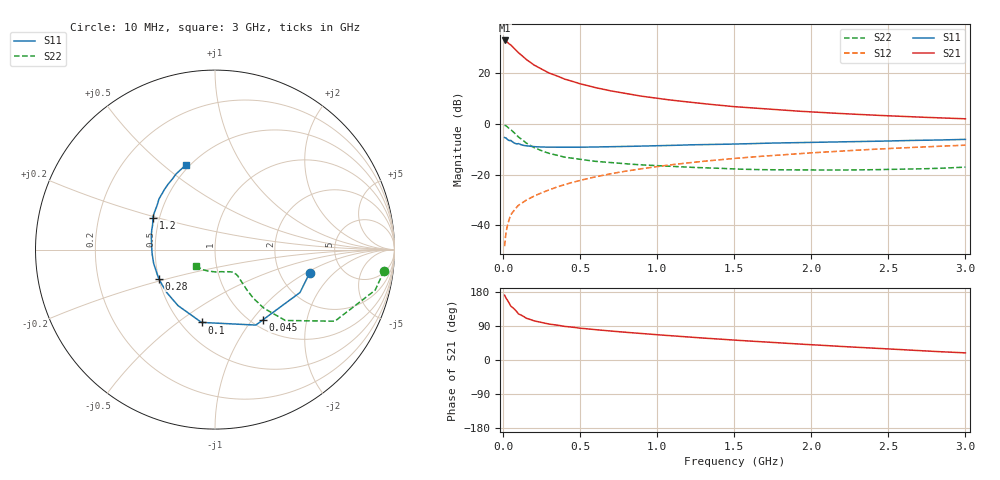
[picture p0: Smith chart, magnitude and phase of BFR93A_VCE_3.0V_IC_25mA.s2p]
! Infineon Technologies  Discrete & RF Semiconductors
! BFR93A
! VCE =  3.0 V,  IC =  25 mA
! Common Emitter S-Parameters:  Nov 2015
# GHz  S  MA  R  50
!  f  S11  S21  S12  S22
! GHz  MAG  ANG  MAG  ANG  MAG  ANG  MAG  ANG
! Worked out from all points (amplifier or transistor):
!   180 points, 10 MHz to 3 GHz, reference 50 ohm
!   highest |S21| = 33.0 dB at 10 MHz (marker M1)
!   |S21| within 3 dB of that: start of sweep to 70.1 MHz
!   unconditionally stable (mu >= 1): 380.1 MHz to 2.959 GHz
!   at 160 MHz: K = 0.76, MSG = 27.4 dB, |S12| = -29.7 dB
!   at 1.22 GHz: K = 1.07, MAG = 10.2 dB, |S12| = -15.2 dB
!   at 3 GHz: K = 1.00, MSG = 5.2 dB, |S12| = -8.3 dB
!   S11 on the Smith chart (normalised r, x): 10 MHz: 2.95, -1.07; 45 MHz: 1.13, -1.13; 100 MHz: 0.63, -0.61; 280 MHz: 0.50, -0.19; 1.2 GHz: 0.46, +0.19; 3 GHz: 0.48, +0.60
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0.01  0.544 -13.6  44.75 171.0  0.0039 83.9  0.9489 -7.2
0.02  0.5305 -26.8  43.35 162.8  0.0076 78.3  0.9206 -14.2
0.045  0.4736 -55.5  37.28 146.1  0.0147 69.8  0.7969 -27.6
0.05  0.478 -61.6  36.52 142.2  0.0161 69.0  0.7784 -30.8
0.1  0.4126 -100.5  25.61 121.6  0.025 62.5  0.5566 -45.2
0.15  0.3741 -123.3  18.83 110.3  0.0315 62.2  0.4238 -50.2
0.2  0.36 -138.3  14.72 103.4  0.0377 63.7  0.3457 -51.7
0.24  0.3539 -146.6  12.56 99.6  0.0427 65.2  0.3063 -51.8
0.28  0.3515 -152.6  10.9 96.3  0.0479 66.3  0.2769 -51.5
0.3  0.3511 -155.3  10.15 94.7  0.0505 66.7  0.2639 -51.2
0.4  0.3503 -167.3  7.723 88.7  0.064 68.5  0.2227 -50.1
0.5  0.3509 -175.9  6.243 83.9  0.0775 69.0  0.2006 -49.2
0.52  0.3511 -177.2  6.041 83.2  0.0802 69.0  0.1973 -49.2
0.6  0.3534 177.8  5.245 80.0  0.091 68.9  0.1842 -49.2
0.7  0.3566 172.7  4.518 76.3  0.1049 68.7  0.1735 -49.9
0.9  0.3686 163.5  3.554 69.9  0.1318 67.1  0.1567 -52.9
1.02  0.3733 158.8  3.165 66.1  0.1479 65.9  0.1506 -55.3
1.2  0.3893 152.8  2.73 60.8  0.1719 64.0  0.1411 -60.6
1.52  0.4053 143.0  2.189 52.0  0.2125 60.2  0.1297 -71.6
2.02  0.4369 130.4  1.728 39.9  0.2732 54.1  0.1239 -92.3
2.52  0.4665 119.2  1.45 28.8  0.3316 47.3  0.1277 -114.9
3  0.4997 109.0  1.273 18.8  0.384 40.8  0.1416 -139.8
